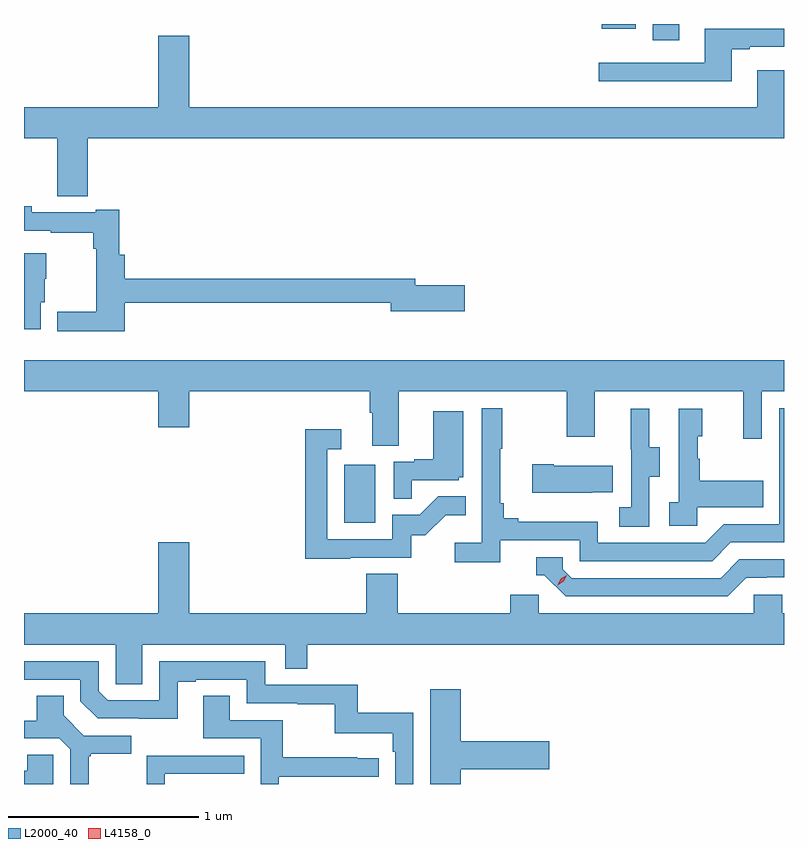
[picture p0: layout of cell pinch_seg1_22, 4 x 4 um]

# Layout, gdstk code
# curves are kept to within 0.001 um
import gdstk
lib = gdstk.Library(unit=1e-6, precision=1e-09)
def R(c, l, rs):  # rectangles x0, y0, x1, y1
    for r in rs: c.add(gdstk.rectangle(r[:2], r[2:], *l))
def P(c, l, *ps):  # polygons
    for p in ps: c.add(gdstk.Polygon(p, *l))
L2000_40 = (2000, 40)
L4158_0 = (4158, 0)

pinch_seg1_22 = lib.new_cell('pinch_seg1_22')
R(pinch_seg1_22, L2000_40, [(1125.026,576.348,1125.19,576.655), (1126.649,578.889,1126.789,578.974), (1126.382,578.948,1126.561,578.974)])
P(pinch_seg1_22, L2000_40, [(1127.065,578.841),(1127.161,578.841),(1127.161,578.853),(1127.341,578.853),(1127.341,578.95),(1126.925,578.95),(1126.925,578.769),(1126.365,578.769),(1126.365,578.672),(1127.065,578.672)],
  [(1123.676,578.372),(1127.341,578.372),(1127.341,578.731),(1127.201,578.731),(1127.201,578.536),(1124.212,578.536),(1124.212,578.911),(1124.048,578.911),(1124.048,578.536),(1123.341,578.536),(1123.341,578.372),(1123.516,578.372),(1123.516,578.068),(1123.676,578.068)],
  [(1123.871,577.506),(1125.272,577.506),(1125.272,577.463),(1125.661,577.463),(1125.661,577.598),(1125.4,577.598),(1125.4,577.634),(1123.871,577.634),(1123.871,577.759),(1123.841,577.759),(1123.841,577.996),(1123.718,577.996),(1123.718,577.983),(1123.383,577.983),(1123.383,578.016),(1123.341,578.016),(1123.341,577.887),(1123.483,577.887),(1123.483,577.875),(1123.705,577.875),(1123.705,577.79),(1123.72,577.79),(1123.72,577.46),(1123.515,577.46),(1123.515,577.358),(1123.871,577.358)],
  [(1123.429,577.509),(1123.45,577.509),(1123.45,577.632),(1123.459,577.632),(1123.459,577.768),(1123.341,577.768),(1123.341,577.368),(1123.429,577.368)],
  [(1125.313,577.04),(1126.198,577.04),(1126.198,576.801),(1126.345,576.801),(1126.345,577.04),(1127.126,577.04),(1127.126,576.792),(1127.223,576.792),(1127.223,577.04),(1127.341,577.04),(1127.341,577.204),(1123.341,577.204),(1123.341,577.04),(1124.048,577.04),(1124.048,576.852),(1124.212,576.852),(1124.212,577.04),(1125.161,577.04),(1125.161,576.928),(1125.173,576.928),(1125.173,576.754),(1125.313,576.754)],
  [(1125.848,576.258),(1126.266,576.258),(1126.266,576.147),(1126.963,576.147),(1127.062,576.246),(1127.341,576.246),(1127.341,576.951),(1127.316,576.951),(1127.316,576.342),(1127.025,576.342),(1126.926,576.243),(1126.362,576.243),(1126.362,576.355),(1125.943,576.355),(1125.943,576.374),(1125.866,576.374),(1125.866,576.451),(1125.847,576.451),(1125.847,576.739),(1125.859,576.739),(1125.859,576.952),(1125.75,576.952),(1125.75,576.244),(1125.609,576.244),(1125.609,576.142),(1125.848,576.142)],
  [(1126.884,576.431),(1127.231,576.431),(1127.231,576.571),(1126.897,576.571),(1126.897,576.686),(1126.887,576.686),(1126.887,576.804),(1126.912,576.804),(1126.912,576.949),(1126.788,576.949),(1126.788,576.458),(1126.737,576.458),(1126.737,576.333),(1126.884,576.333)],
  [(1126.632,576.592),(1126.687,576.592),(1126.687,576.747),(1126.633,576.747),(1126.633,576.949),(1126.535,576.949),(1126.535,576.735),(1126.536,576.735),(1126.536,576.431),(1126.473,576.431),(1126.473,576.328),(1126.632,576.328)],
  [(1125.383,576.573),(1125.63,576.573),(1125.63,576.588),(1125.652,576.588),(1125.652,576.937),(1125.494,576.937),(1125.494,576.682),(1125.395,576.682),(1125.395,576.669),(1125.288,576.669),(1125.288,576.475),(1125.383,576.475)],
  [(1125.059,576.165),(1125.378,576.165),(1125.378,576.282),(1125.454,576.282),(1125.561,576.389),(1125.665,576.389),(1125.665,576.488),(1125.521,576.488),(1125.423,576.39),(1125.279,576.39),(1125.279,576.261),(1124.937,576.261),(1124.937,576.735),(1125.01,576.735),(1125.01,576.841),(1124.821,576.841),(1124.821,576.16),(1125.059,576.16)],
  [(1126.331,576.509),(1126.439,576.509),(1126.439,576.649),(1126.129,576.649),(1126.129,576.657),(1126.017,576.657),(1126.017,576.506),(1126.331,576.506)],
  [(1123.963,575.708),(1124.715,575.708),(1124.715,575.581),(1124.831,575.581),(1124.831,575.708),(1127.341,575.708),(1127.341,575.872),(1127.331,575.872),(1127.331,575.97),(1127.181,575.97),(1127.181,575.872),(1126.05,575.872),(1126.05,575.97),(1125.899,575.97),(1125.899,575.872),(1125.308,575.872),(1125.308,576.08),(1125.143,576.08),(1125.143,575.872),(1124.212,575.872),(1124.212,576.247),(1124.048,576.247),(1124.048,575.872),(1123.341,575.872),(1123.341,575.708),(1123.824,575.708),(1123.824,575.5),(1123.963,575.5)],
  [(1127.143,576.06),(1127.25,576.06),(1127.25,576.063),(1127.341,576.063),(1127.341,576.156),(1127.106,576.156),(1127.007,576.057),(1126.224,576.057),(1126.176,576.105),(1126.176,576.168),(1126.037,576.168),(1126.037,576.072),(1126.08,576.072),(1126.191,575.961),(1127.044,575.961)],
  [(1125.39,575.35),(1125.097,575.35),(1125.097,575.496),(1124.61,575.496),(1124.61,575.619),(1124.052,575.619),(1124.052,575.415),(1123.782,575.415),(1123.734,575.463),(1123.734,575.619),(1123.341,575.619),(1123.341,575.523),(1123.638,575.523),(1123.638,575.409),(1123.728,575.319),(1124.149,575.318),(1124.149,575.511),(1124.245,575.511),(1124.245,575.523),(1124.514,575.523),(1124.514,575.4),(1124.779,575.4),(1124.779,575.395),(1124.976,575.395),(1124.976,575.24),(1125.281,575.24),(1125.281,575.144),(1125.294,575.144),(1125.294,574.974),(1125.39,574.974)],
  [(1125.64,575.051),(1126.105,575.051),(1126.105,575.198),(1125.64,575.198),(1125.64,575.473),(1125.479,575.473),(1125.479,574.974),(1125.64,574.974)],
  [(1124.682,575.013),(1125.208,575.013),(1125.208,575.109),(1125.095,575.109),(1125.095,575.114),(1124.702,575.114),(1124.702,575.31),(1124.425,575.31),(1124.425,575.438),(1124.285,575.438),(1124.285,575.214),(1124.586,575.214),(1124.586,574.974),(1124.682,574.974)],
  [(1123.681,575.121),(1123.693,575.121),(1123.693,575.132),(1123.906,575.132),(1123.906,575.229),(1123.656,575.229),(1123.549,575.336),(1123.549,575.438),(1123.409,575.438),(1123.409,575.306),(1123.341,575.306),(1123.341,575.214),(1123.527,575.214),(1123.584,575.157),(1123.584,574.974),(1123.681,574.974)],
  [(1123.494,575.127),(1123.357,575.127),(1123.357,575.043),(1123.341,575.043),(1123.341,574.974),(1123.494,574.974)],
  [(1124.082,575.028),(1124.501,575.028),(1124.501,575.124),(1123.986,575.124),(1123.986,574.974),(1124.082,574.974)])
P(pinch_seg1_22, L4158_0, [(1126.151,576.021),(1126.151,576.021),(1126.167,576.053),(1126.198,576.073),(1126.198,576.073),(1126.198,576.072),(1126.182,576.04),(1126.151,576.021)])

lib.write_gds('pinch_seg1_22.gds')
